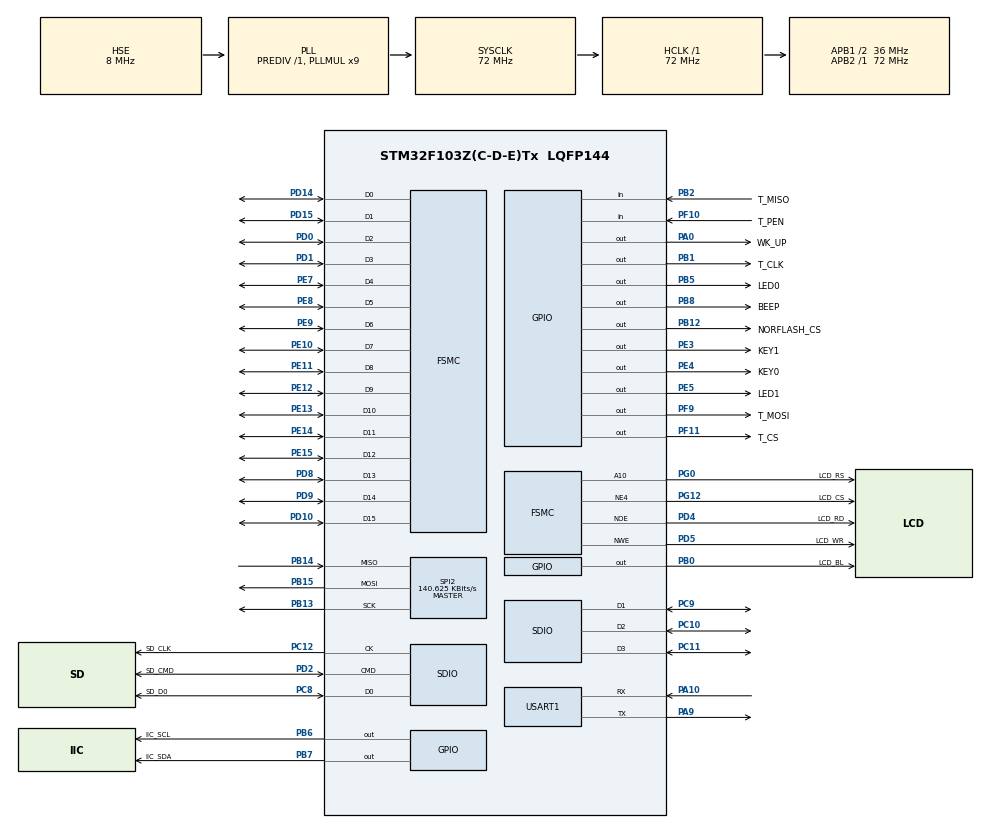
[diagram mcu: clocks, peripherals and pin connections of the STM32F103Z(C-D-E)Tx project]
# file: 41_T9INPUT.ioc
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FATFS._CODE_PAGE=936
FATFS._FS_LOCK=0
FATFS._LFN_UNICODE=0
FATFS._MAX_SS=512
FATFS._STRF_ENCODE=0
FATFS._USE_LABEL=1
FATFS._USE_LFN=3
FATFS._VOLUMES=2
FSMC.AddressSetupTime1=0
FSMC.BusTurnAroundDuration1=15
FSMC.DataSetupTime1=15
FSMC.ExtendedAddressSetupTime1=0
FSMC.ExtendedDataSetupTime1=1
FSMC.ExtendedMode1=FSMC_EXTENDED_MODE_ENABLE
Mcu.Family=STM32F1
Mcu.Name=STM32F103Z(C-D-E)Tx
Mcu.Package=LQFP144
NVIC.PriorityGroup=NVIC_PRIORITYGROUP_2
NVIC.TIM4_IRQn=true\:2\:2\:true\:false\:true\:true\:true\:true
NVIC.USART1_IRQn=true\:2\:2\:true\:false\:true\:true\:true\:true
OSC_IN.Mode=HSE-External-Oscillator
OSC_IN.Signal=RCC_OSC_IN
OSC_OUT.Mode=HSE-External-Oscillator
OSC_OUT.Signal=RCC_OSC_OUT
PA0-WKUP.GPIO_Label=WK_UP
PA0-WKUP.GPIO_PuPd=GPIO_PULLDOWN
PA0-WKUP.GPIO_Speed=GPIO_SPEED_FREQ_HIGH
PA0-WKUP.PinState=GPIO_PIN_RESET
PA0-WKUP.Signal=GPIO_Output
PA10.Mode=Asynchronous
PA10.Signal=USART1_RX
PA13.Mode=Serial_Wire
PA13.Signal=SYS_JTMS-SWDIO
PA14.Mode=Serial_Wire
PA14.Signal=SYS_JTCK-SWCLK
PA9.Mode=Asynchronous
PA9.Signal=USART1_TX
PB0.GPIO_Label=LCD_BL
PB0.GPIO_PuPd=GPIO_PULLUP
PB0.GPIO_Speed=GPIO_SPEED_FREQ_HIGH
PB0.PinState=GPIO_PIN_SET
PB0.Signal=GPIO_Output
PB1.GPIO_Label=T_CLK
PB1.GPIO_ModeDefaultOutputPP=GPIO_MODE_OUTPUT_PP
PB1.GPIO_PuPd=GPIO_PULLUP
PB1.GPIO_Speed=GPIO_SPEED_FREQ_HIGH
PB1.PinState=GPIO_PIN_SET
PB1.Signal=GPIO_Output
PB12.GPIO_Label=NORFLASH_CS
PB12.GPIO_PuPd=GPIO_PULLUP
PB12.GPIO_Speed=GPIO_SPEED_FREQ_HIGH
PB12.PinState=GPIO_PIN_SET
PB12.Signal=GPIO_Output
PB13.Mode=Full_Duplex_Master
PB13.Signal=SPI2_SCK
PB14.Mode=Full_Duplex_Master
PB14.Signal=SPI2_MISO
PB15.Mode=Full_Duplex_Master
PB15.Signal=SPI2_MOSI
PB2.GPIO_Label=T_MISO
PB2.GPIO_PuPd=GPIO_PULLUP
PB2.Signal=GPIO_Input
PB5.GPIO_Label=LED0
PB5.GPIO_PuPd=GPIO_PULLUP
PB5.GPIO_Speed=GPIO_SPEED_FREQ_HIGH
PB5.PinState=GPIO_PIN_SET
PB5.Signal=GPIO_Output
PB6.GPIO_Label=IIC_SCL
PB6.GPIO_PuPd=GPIO_PULLUP
PB6.GPIO_Speed=GPIO_SPEED_FREQ_HIGH
PB6.PinState=GPIO_PIN_SET
PB6.Signal=GPIO_Output
PB7.GPIO_Label=IIC_SDA
PB7.GPIO_ModeDefaultOutputPP=GPIO_MODE_OUTPUT_OD
PB7.GPIO_PuPd=GPIO_PULLUP
PB7.GPIO_Speed=GPIO_SPEED_FREQ_HIGH
PB7.PinState=GPIO_PIN_SET
PB7.Signal=GPIO_Output
PB8.GPIO_Label=BEEP
PB8.GPIO_ModeDefaultOutputPP=GPIO_MODE_OUTPUT_PP
PB8.GPIO_PuPd=GPIO_PULLDOWN
PB8.GPIO_Speed=GPIO_SPEED_FREQ_HIGH
PB8.PinState=GPIO_PIN_RESET
PB8.Signal=GPIO_Output
PC10.Mode=SD_4_bits_Wide_bus
PC10.Signal=SDIO_D2
PC11.Mode=SD_4_bits_Wide_bus
PC11.Signal=SDIO_D3
PC12.GPIO_Label=SD_CLK
PC12.Mode=SD_4_bits_Wide_bus
PC12.Signal=SDIO_CK
PC14-OSC32_IN.Mode=LSE-External-Oscillator
PC14-OSC32_IN.Signal=RCC_OSC32_IN
PC15-OSC32_OUT.Mode=LSE-External-Oscillator
PC15-OSC32_OUT.Signal=RCC_OSC32_OUT
PC8.GPIO_Label=SD_D0
PC8.Mode=SD_4_bits_Wide_bus
PC8.Signal=SDIO_D0
PC9.Mode=SD_4_bits_Wide_bus
PC9.Signal=SDIO_D1
PD0.Signal=FSMC_D2_DA2
PD1.Signal=FSMC_D3_DA3
PD10.Signal=FSMC_D15_DA15
PD14.Signal=FSMC_D0_DA0
PD15.Signal=FSMC_D1_DA1
PD2.GPIO_Label=SD_CMD
PD2.Mode=SD_4_bits_Wide_bus
PD2.Signal=SDIO_CMD
PD4.GPIO_Label=LCD_RD
PD4.Signal=FSMC_NOE
PD5.GPIO_Label=LCD_WR
PD5.Signal=FSMC_NWE
PD8.Signal=FSMC_D13_DA13
PD9.Signal=FSMC_D14_DA14
PE10.Signal=FSMC_D7_DA7
PE11.Signal=FSMC_D8_DA8
PE12.Signal=FSMC_D9_DA9
PE13.Signal=FSMC_D10_DA10
PE14.Signal=FSMC_D11_DA11
PE15.Signal=FSMC_D12_DA12
PE3.GPIO_Label=KEY1
PE3.GPIO_PuPd=GPIO_PULLUP
PE3.GPIO_Speed=GPIO_SPEED_FREQ_HIGH
PE3.PinState=GPIO_PIN_SET
PE3.Signal=GPIO_Output
PE4.GPIO_Label=KEY0
PE4.GPIO_PuPd=GPIO_PULLUP
PE4.GPIO_Speed=GPIO_SPEED_FREQ_HIGH
PE4.PinState=GPIO_PIN_SET
PE4.Signal=GPIO_Output
PE5.GPIO_Label=LED1
PE5.GPIO_PuPd=GPIO_PULLUP
PE5.GPIO_Speed=GPIO_SPEED_FREQ_HIGH
PE5.PinState=GPIO_PIN_SET
PE5.Signal=GPIO_Output
PE7.Signal=FSMC_D4_DA4
PE8.Signal=FSMC_D5_DA5
PE9.Signal=FSMC_D6_DA6
PF10.GPIO_Label=T_PEN
PF10.GPIO_PuPd=GPIO_PULLUP
PF10.Signal=GPIO_Input
PF11.GPIO_Label=T_CS
PF11.GPIO_PuPd=GPIO_PULLUP
PF11.GPIO_Speed=GPIO_SPEED_FREQ_HIGH
PF11.PinState=GPIO_PIN_SET
PF11.Signal=GPIO_Output
PF9.GPIO_Label=T_MOSI
PF9.GPIO_PuPd=GPIO_PULLUP
PF9.GPIO_Speed=GPIO_SPEED_FREQ_HIGH
PF9.PinState=GPIO_PIN_SET
PF9.Signal=GPIO_Output
PG0.GPIO_Label=LCD_RS
PG0.Signal=FSMC_A10
PG12.GPIO_Label=LCD_CS
PG12.Mode=NorPsramChipSelect4_1
PG12.Signal=FSMC_NE4
ProjectManager.HeapSize=0x1000
ProjectManager.StackSize=0x400
ProjectManager.TargetToolchain=STM32CubeIDE
RCC.AHBFreq_Value=72000000
RCC.APB1CLKDivider=RCC_HCLK_DIV2
RCC.APB1Freq_Value=36000000
RCC.APB1TimFreq_Value=72000000
RCC.APB2Freq_Value=72000000
RCC.APB2TimFreq_Value=72000000
RCC.HCLKFreq_Value=72000000
RCC.PLLMUL=RCC_PLL_MUL9
RCC.PLLSourceVirtual=RCC_PLLSOURCE_HSE
RCC.SYSCLKFreq_VALUE=72000000
RCC.SYSCLKSource=RCC_SYSCLKSOURCE_PLLCLK
RCC.USBFreq_Value=72000000
SDIO.ClockDiv=0x04
SDIO.HardwareFlowControl=SDIO_HARDWARE_FLOW_CONTROL_ENABLE
SH.FSMC_A10.0=FSMC_A10,A10_1
SH.FSMC_D0_DA0.0=FSMC_D0,16b-d1
SH.FSMC_D10_DA10.0=FSMC_D10,16b-d1
SH.FSMC_D11_DA11.0=FSMC_D11,16b-d1
SH.FSMC_D12_DA12.0=FSMC_D12,16b-d1
SH.FSMC_D13_DA13.0=FSMC_D13,16b-d1
SH.FSMC_D14_DA14.0=FSMC_D14,16b-d1
SH.FSMC_D15_DA15.0=FSMC_D15,16b-d1
SH.FSMC_D1_DA1.0=FSMC_D1,16b-d1
SH.FSMC_D2_DA2.0=FSMC_D2,16b-d1
SH.FSMC_D3_DA3.0=FSMC_D3,16b-d1
SH.FSMC_D4_DA4.0=FSMC_D4,16b-d1
SH.FSMC_D5_DA5.0=FSMC_D5,16b-d1
SH.FSMC_D6_DA6.0=FSMC_D6,16b-d1
SH.FSMC_D7_DA7.0=FSMC_D7,16b-d1
SH.FSMC_D8_DA8.0=FSMC_D8,16b-d1
SH.FSMC_D9_DA9.0=FSMC_D9,16b-d1
SH.FSMC_NOE.0=FSMC_NOE,Lcd1
SH.FSMC_NWE.0=FSMC_NWE,Lcd1
SPI2.BaudRatePrescaler=SPI_BAUDRATEPRESCALER_256
SPI2.CLKPhase=SPI_PHASE_2EDGE
SPI2.CLKPolarity=SPI_POLARITY_HIGH
SPI2.CalculateBaudRate=140.625 KBits/s
SPI2.Direction=SPI_DIRECTION_2LINES
SPI2.Mode=SPI_MODE_MASTER
SPI2.VirtualType=VM_MASTER
TIM4.AutoReloadPreload=TIM_AUTORELOAD_PRELOAD_ENABLE
TIM4.Period=1000 - 1
TIM4.Prescaler=720 - 1
USART1.VirtualMode=VM_ASYNC
VP_FATFS_VS_Generic.Mode=User_defined
VP_TIM4_VS_ClockSourceINT.Mode=Internal
board=custom

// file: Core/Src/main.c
/* USER CODE BEGIN Header */
/**
 ****************************************************************************************************
 * @file        main.c
 * @author      正点原子团队(ALIENTEK)
 * @version     V1.0
 * @date        2024-01-01
 * @brief       T9拼音输入法 实验
 * @license     Copyright (c) 2020-2032, 广州市星翼电子科技有限公司
 ****************************************************************************************************
 * @attention
 *
 * 实验平台:正点原子 STM32F103开发板
 * 在线视频:www.yuanzige.com
 * 技术论坛:www.openedv.com
 * 公司网址:www.alientek.com
 * 购买地址:openedv.taobao.com
 *
 ****************************************************************************************************
 */
/* USER CODE END Header */
#include "main.h"
#include "fatfs.h"
#include "sdio.h"
#include "spi.h"
#include "tim.h"
#include "usart.h"
#include "gpio.h"
#include "fsmc.h"

/* USER CODE BEGIN Includes */
#include "../../BSP/LED/led.h"
#include "../../BSP/KEY/key.h"
#include "../../BSP/LCD/lcd.h"
#include "../../BSP/NORFLASH/norflash.h"
#include "../../BSP/TOUCH/touch.h"
#include "../../SYSTEM/delay/delay.h"
#include "../../ATK_Middlewares/MALLOC/malloc.h"
#include "../../FatFs/exfuns/exfuns.h"
#include "../../ATK_Middlewares/TEXT/text.h"
#include "../../ATK_Middlewares/T9INPUT/pyinput.h"
#include "ff.h"
/* USER CODE END Includes */

/* USER CODE BEGIN PTD */

/* 数字表 */
const char *kbd_tbl[9] = {"←", "2", "3", "4", "5", "6", "7", "8", "9"};

/* 字符表 */
const char *kbs_tbl[9] = {"DEL", "abc", "def", "ghi", "jkl", "mno", "pqrs", "tuv", "wxyz"};

uint16_t kbdxsize;  /* 虚拟键盘按键宽度 */
uint16_t kbdysize;  /* 虚拟键盘按键高度 */

/* USER CODE END PTD */

/* USER CODE BEGIN PD */

/**
 * @brief       加载键盘界面
 * @param       x, y : 界面起始坐标
 * @retval      无
 */
void py_load_ui(uint16_t x, uint16_t y)
{
    uint16_t i;
    lcd_draw_rectangle(x, y, x + kbdxsize * 3, y + kbdysize * 3, RED);
    lcd_draw_rectangle(x + kbdxsize, y, x + kbdxsize * 2, y + kbdysize * 3, RED);
    lcd_draw_rectangle(x, y + kbdysize, x + kbdxsize * 3, y + kbdysize * 2, RED);

    for (i = 0; i < 9; i++)
    {
        text_show_string_middle(x + (i % 3)*kbdxsize, y + 4 + kbdysize * (i / 3), (char *)kbd_tbl[i], 16, kbdxsize, BLUE);
        text_show_string_middle(x + (i % 3)*kbdxsize, y + kbdysize / 2 + kbdysize * (i / 3), (char *)kbs_tbl[i], 16, kbdxsize, BLUE);
    }
}

/**
 * @brief       按键状态设置
 * @param       x, y : 键盘坐标
 * @param       key  : 键值（0~8）
 * @retval      对应按键状态
 *   @arg       0, 松开;
 *   @arg       1, 按下;
 */
void py_key_staset(uint16_t x, uint16_t y, uint8_t keyx, uint8_t sta)
{
    uint16_t i = keyx / 3, j = keyx % 3;

    if (keyx > 8)return;

    if (sta)lcd_fill(x + j * kbdxsize + 1, y + i * kbdysize + 1, x + j * kbdxsize + kbdxsize - 1, y + i * kbdysize + kbdysize - 1, GREEN);
    else lcd_fill(x + j * kbdxsize + 1, y + i * kbdysize + 1, x + j * kbdxsize + kbdxsize - 1, y + i * kbdysize + kbdysize - 1, WHITE);

    text_show_string_middle(x + j * kbdxsize, y + 4 + kbdysize * i, (char *)kbd_tbl[keyx], 16, kbdxsize, BLUE);
    text_show_string_middle(x + j * kbdxsize, y + kbdysize / 2 + kbdysize * i, (char *)kbs_tbl[keyx], 16, kbdxsize, BLUE);
}

/**
 * @brief       得到触摸屏的输入
 * @param       x, y : 键盘坐标
 * @retval      按键键值(1~9 有效；0, 无效;)
 */
uint8_t py_get_keynum(uint16_t x, uint16_t y)
{
    uint16_t i, j;
    static uint8_t key_x = 0;       /* 0,没有任何按键按下；1~9，1~9号按键按下 */
    uint8_t key = 0;
    tp_dev.scan(0);

    if (tp_dev.sta & TP_PRES_DOWN)  /* 触摸屏被按下 */
    {
        for (i = 0; i < 3; i++)
        {
            for (j = 0; j < 3; j++)
            {
                if (tp_dev.x[0] < (x + j * kbdxsize + kbdxsize) &&
                    tp_dev.x[0] > (x + j * kbdxsize) &&
                    tp_dev.y[0] < (y + i * kbdysize + kbdysize) &&
                    tp_dev.y[0] > (y + i * kbdysize))
                {
                    key = i * 3 + j + 1;
                    break;
                }
            }

            if (key)
            {
                if (key_x == key)key = 0;
                else
                {
                    py_key_staset(x, y, key_x - 1, 0);
                    key_x = key;
                    py_key_staset(x, y, key_x - 1, 1);
                }

                break;
            }
        }
    }
    else if (key_x)
    {
        py_key_staset(x, y, key_x - 1, 0);
        key_x = 0;
    }

    return key;
}

/**
 * @brief       显示结果
 * @param       index: 索引号
 *   @arg       0    , 表示没有一个匹配的结果, 清空之前的显示
 *   @arg       其他 , 索引号
 * @retval      无
 */
void py_show_result(uint8_t index)
{
    lcd_show_num(30 + 144, 125, index, 1, 16, BLUE);            /* 显示当前的索引 */
    lcd_fill(30 + 40, 125, 30 + 40 + 48, 130 + 16, WHITE);      /* 清除之前的显示 */
    lcd_fill(30 + 40, 145, lcddev.width - 1, 145 + 48, WHITE);  /* 清除之前的显示 */

    if (index)
    {
        text_show_string(30 + 40, 125, 200, 16, (char *)t9.pymb[index - 1]->py, 16, 0, BLUE);   /* 显示拼音 */
        text_show_string(30 + 40, 145, lcddev.width - 70, 48, (char *)t9.pymb[index - 1]->pymb, 16, 0, BLUE);   /* 显示对应的汉字 */
        printf("\r\n拼音:%s\r\n", t9.pymb[index - 1]->py);    /* 串口输出拼音 */
        printf("结果:%s\r\n", t9.pymb[index - 1]->pymb);      /* 串口输出结果 */
    }
}

/* USER CODE END PD */

void SystemClock_Config(void);

int main(void)
{
  /* USER CODE BEGIN 1 */
    uint8_t i = 0;
    uint8_t result_num;
    uint8_t cur_index;
    uint8_t key;
    uint8_t temp;
    uint8_t inputstr[7];                        /* 最大输入6个字符+结束符 */
    uint8_t inputlen;                           /* 输入长度 */
  /* USER CODE END 1 */

  /* MCU Configuration--------------------------------------------------------*/

  /* Reset of all peripherals, Initializes the Flash interface and the Systick. */
  HAL_Init();

  /* Configure the system clock */
  SystemClock_Config();

  /* USER CODE BEGIN SysInit */
  delay_init(72);						   	/* 初始化延时函数 */
  /* USER CODE END SysInit */

  /* Initialize all configured peripherals */
  MX_GPIO_Init();
  MX_FSMC_Init();
  MX_USART1_UART_Init();
  MX_SDIO_SD_Init();
  MX_FATFS_Init();
  MX_SPI2_Init();
  MX_TIM4_Init();
  /* USER CODE BEGIN 2 */
  lcd_init();                         		/* 初始化LCD */
  norflash_init();                    		/* 初始化NORFLASH */
  tp_dev.init();                            /* 初始化触摸屏 */
  my_mem_init(SRAMIN);               		/* 初始化内部SRAM内存池 */
  exfuns_init();                 			/* 为fatfs相关变量申请内存 */

  f_mount(fs[0], "0:", 1);       			/* 挂载SD卡 */
  f_mount(fs[1], "1:", 1);       			/* 挂载SPI_FLASH卡 */

RESTART:
  while (fonts_init())                        /* 检查字库 */
  {
	  lcd_show_string(60, 50, 200, 16, 16, "Font Error!", RED);
	  delay_ms(200);
	  lcd_fill(60, 50, 240, 66, WHITE);   /* 清除显示 */
	  delay_ms(200);
  }
  text_show_string(30, 5, 200, 16, "正点原子STM32开发板", 16, 0, RED);
  text_show_string(30, 25, 200, 16, "拼音输入法实验", 16, 0, RED);
  text_show_string(30, 45, 200, 16, "正点原子@ALIENTEK", 16, 0, RED);
  text_show_string(30, 65, 200, 16, "KEY_UP:校准", 16, 0, RED);
  text_show_string(30, 85, 200, 16, "KEY0:翻页  KEY1:清除", 16, 0, RED);
  text_show_string(30, 105, 200, 16, "输入:        匹配:  ", 16, 0, RED);
  text_show_string(30, 125, 200, 16, "拼音:        当前:  ", 16, 0, RED);
  text_show_string(30, 145, 210, 32, "结果:", 16, 0, RED);

  /* 根据LCD分辨率设置按键大小 */
  if (lcddev.id == 0X5310)
  {
	  kbdxsize = 86;
	  kbdysize = 43;
  }
  else if (lcddev.id == 0X5510)
  {
	  kbdxsize = 140;
	  kbdysize = 70;
  }
  else
  {
	  kbdxsize = 60;
	  kbdysize = 40;
  }

  py_load_ui(30, 195);
  my_mem_set(inputstr, 0, 7); /* 全部清零 */
  inputlen = 0;   /* 输入长度为0 */
  result_num = 0; /* 总匹配数清零 */
  cur_index = 0;

  /* USER CODE END 2 */

  /* Infinite loop */
  /* USER CODE BEGIN WHILE */
  while (1)
  {
	  i++;
	  delay_ms(10);
	  key = py_get_keynum(30, 195);

	  if (key)
	  {
		  if (key == 1)   /* 删除 */
		  {
			  if (inputlen)inputlen--;

			  inputstr[inputlen] = '\0';      /* 添加结束符 */
		  }
		  else
		  {
			  inputstr[inputlen] = key + '0'; /* 输入字符 */

			  if (inputlen < 7)inputlen++;
		  }

		  if (inputstr[0] != NULL)
		  {
			  temp = t9.getpymb(inputstr);     /* 得到匹配的结果数 */

			  if (temp)   /* 有部分匹配/完全匹配的结果 */
			  {
				  result_num = temp & 0X7F;   /* 总匹配结果 */
				  cur_index = 1;              /* 当前为第一个索引 */

				  if (temp & 0X80)            /* 是部分匹配 */
				  {
					  inputlen = temp & 0X7F; /* 有效匹配位数 */
					  inputstr[inputlen] = '\0';  /* 不匹配的位数去掉 */

					  if (inputlen > 1)
					  {
						  temp = t9.getpymb(inputstr);    /* 重新获取完全匹配字符数 */
						  result_num = (temp & 0X80)? 0 : (temp & 0X7F); /* 如果还是部分匹配, 直接匹配数为0, 否则表示匹配数量 */
					  }
				  }
			  }
			  else    /* 没有任何匹配 */
			  {
				  inputlen--;
				  inputstr[inputlen] = '\0';
			  }
		  }
		  else
		  {
			  cur_index = 0;
			  result_num = 0;
		  }

		  lcd_fill(30 + 40, 105, 30 + 40 + 48, 110 + 16, WHITE);      /* 清除之前的显示 */
		  lcd_show_num(30 + 144, 105, result_num, 1, 16, BLUE);       /* 显示匹配的结果数 */
		  text_show_string(30 + 40, 105, 200, 16, (char *)inputstr, 16, 0, BLUE); /* 显示有效的数字串 */
		  py_show_result(cur_index);  /* 显示第cur_index的匹配结果 */
	  }

	  key = key_scan(0);

	  if (key == WKUP_PRES && tp_dev.touchtype == 0)  /* KEYUP按下,且是电阻屏 */
	  {
		  tp_dev.adjust();
		  lcd_clear(WHITE);
		  goto RESTART;
	  }

	  switch (key)
	  {
		  case KEY0_PRES: /* 下翻 */
			  if (result_num) /* 存在匹配的结果 */
			  {
				  if (cur_index < result_num)cur_index++;
				  else cur_index = 1;

				  py_show_result(cur_index);  /* 显示第cur_index的匹配结果 */
			  }
			  break;

		  case KEY1_PRES: /* 清除输入 */
			  lcd_fill(30 + 40, 145, lcddev.width - 1, 145 + 48, WHITE);  /* 清除之前的显示 */
			  goto RESTART;
	  }

	  if (i == 30)
	  {
		  i = 0;
		  LED0_TOGGLE();
	  }
    /* USER CODE END WHILE */

  }
}

void SystemClock_Config(void)
{
  RCC_OscInitTypeDef RCC_OscInitStruct = {0};
  RCC_ClkInitTypeDef RCC_ClkInitStruct = {0};

  /** Initializes the RCC Oscillators according to the specified parameters
  * in the RCC_OscInitTypeDef structure.
  */
  RCC_OscInitStruct.OscillatorType = RCC_OSCILLATORTYPE_HSE;
  RCC_OscInitStruct.HSEState = RCC_HSE_ON;
  RCC_OscInitStruct.HSEPredivValue = RCC_HSE_PREDIV_DIV1;
  RCC_OscInitStruct.HSIState = RCC_HSI_ON;
  RCC_OscInitStruct.PLL.PLLState = RCC_PLL_ON;
  RCC_OscInitStruct.PLL.PLLSource = RCC_PLLSOURCE_HSE;
  RCC_OscInitStruct.PLL.PLLMUL = RCC_PLL_MUL9;
  if (HAL_RCC_OscConfig(&RCC_OscInitStruct) != HAL_OK)
  {
    Error_Handler();
  }

  /** Initializes the CPU, AHB and APB buses clocks
  */
  RCC_ClkInitStruct.ClockType = RCC_CLOCKTYPE_HCLK|RCC_CLOCKTYPE_SYSCLK
                              |RCC_CLOCKTYPE_PCLK1|RCC_CLOCKTYPE_PCLK2;
  RCC_ClkInitStruct.SYSCLKSource = RCC_SYSCLKSOURCE_PLLCLK;
  RCC_ClkInitStruct.AHBCLKDivider = RCC_SYSCLK_DIV1;
  RCC_ClkInitStruct.APB1CLKDivider = RCC_HCLK_DIV2;
  RCC_ClkInitStruct.APB2CLKDivider = RCC_HCLK_DIV1;

  if (HAL_RCC_ClockConfig(&RCC_ClkInitStruct, FLASH_LATENCY_2) != HAL_OK)
  {
    Error_Handler();
  }
}

void Error_Handler(void)
{
  __disable_irq();
  while (1)
  {
  }
}
